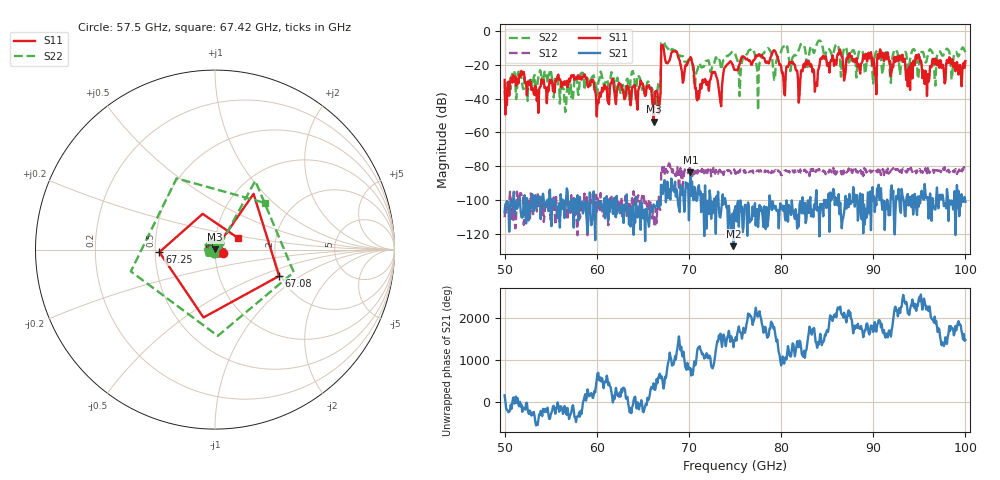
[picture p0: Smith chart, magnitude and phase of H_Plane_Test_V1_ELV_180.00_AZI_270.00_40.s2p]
! 11/27/2026 8:28:14 AM
! C:\ANRITSUVNA\TEMP\TEMP.S2P
! CHANNEL.1
! TR.MEASUREMENT
! RAW.DATA
# HZ S RI R 50.0
! FREQ.HZ  S11RE  S11IM  S21RE  S21IM  S12RE  S12IM  S22RE  S22IM
!; PortSelection: Port_12
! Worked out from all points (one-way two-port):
!   601 points, 50 GHz to 100 GHz, reference 50 ohm
!   highest |S21| = -83.67 dB at 70.17 GHz (marker M1); lowest = -127.4 dB at 74.83 GHz (marker M2)
!   lowest |S11| = -53.7 dB at 66.17 GHz (marker M3), VSWR 1.00, Z = 50.1 + j0.155 ohm
!   |S11| at or under -10 dB: start of sweep to 67 GHz; 67.24 GHz to end of sweep
!   |S22| runs from -48.0 to -5.6 dB; largest |S21 - S12| = 0.00013
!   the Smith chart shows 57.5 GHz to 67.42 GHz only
!   S11 on the Smith chart (normalised r, x): 57.5 GHz: 1.09, -0.05; 67.08 GHz: 1.96, -0.68; 67.25 GHz: 0.53, -0.02; 67.42 GHz: 1.29, +0.17
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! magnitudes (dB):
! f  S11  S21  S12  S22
! 50 GHz  -29.0  -107.2  -110.3  -35.6
! 57.5 GHz  -26.1  -116.5  -99.0  -34.4
! 58.42 GHz  -27.1  -101.5  -100.9  -24.7
! 60.17 GHz  -42.8  -102.7  -101.7  -30.2
! 66.17 GHz  -53.7  -102.7  -107.8  -34.0
! 66.67 GHz  -41.8  -104.6  -105.2  -31.5
! 67.08 GHz  -8.3  -92.8  -80.9  -6.8
! 67.25 GHz  -10.2  -91.5  -79.4  -6.3
! 67.42 GHz  -16.8  -88.7  -85.2  -8.4
! 70.17 GHz  -15.5  -83.7  -84.2  -18.5
! 70.92 GHz  -41.1  -99.5  -84.4  -23.1
! 74.83 GHz  -21.3  -127.4  -83.0  -12.2
! 75 GHz  -23.1  -105.5  -83.6  -13.0
! 77.58 GHz  -13.8  -109.6  -83.3  -21.9
! 78.5 GHz  -18.2  -115.9  -83.0  -10.8
! 79.33 GHz  -11.7  -103.6  -82.7  -28.8
! 80.25 GHz  -27.8  -106.6  -83.5  -9.3
! 83.42 GHz  -24.4  -105.9  -81.6  -10.9
! 91.67 GHz  -16.6  -109.1  -84.5  -15.3
! 94.83 GHz  -14.9  -98.0  -83.7  -28.3
! 95.83 GHz  -38.4  -99.1  -84.3  -16.4
! 100 GHz  -17.9  -101.2  -82.6  -12.6
